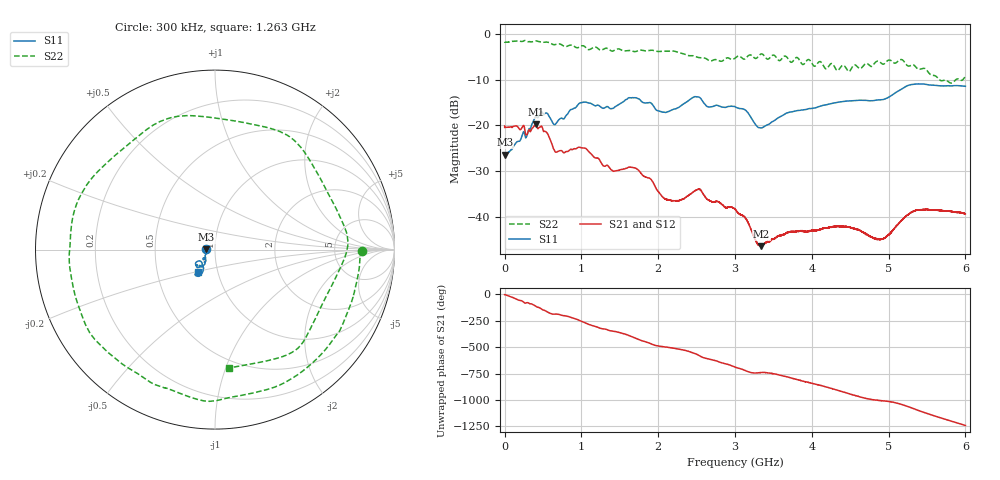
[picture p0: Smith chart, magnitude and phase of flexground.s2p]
!  8/12/2020  02:56:47
! Ref Plane: 0.000 mm
# MHZ S MA R  50
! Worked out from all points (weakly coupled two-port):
!   10001 points, 300 kHz to 6 GHz, reference 50 ohm
!   highest |S21| = -19.78 dB at 405.3 MHz (marker M1); lowest = -46.4 dB at 3.344 GHz (marker M2)
!   lowest |S11| = -26.4 dB at 2.1 MHz (marker M3), VSWR 1.10, Z = 45.4 + j0.0592 ohm
!   |S11| at or under -10 dB: start of sweep to end of sweep
!   |S22| runs from -10.8 to -1.5 dB; largest |S21 - S12| = 0.0018
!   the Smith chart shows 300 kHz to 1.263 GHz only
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0.3  0.04814 177.6  0.09862 -1.1  0.09691 -1.1  0.8177 -0.5
2.0999  0.04778 179.2  0.09495 -0.8  0.0953 -0.7  0.8083 -1.1
227.0887  0.077 -136.3  0.09468 -61.4  0.09466 -61.3  0.8256 -80.3
405.2798  0.1261 -131.3  0.1026 -110.6  0.1025 -110.5  0.8359 -143.2
714.8643  0.1171 -127.7  0.05284 169.8  0.05281 169.9  0.7756 109.7
1000.45  0.177 -123.0  0.05687 106.0  0.05687 106.2  0.7371 8.1
1292.035  0.1542 -123.7  0.036 33.5  0.0359 33.5  0.6831 -93.7
1521.824  0.1759 -113.1  0.03311 -6.5  0.03311 -6.3  0.6646 -170.1
1768.412  0.1884 -123.8  0.03064 -74.3  0.03059 -74.3  0.6625 101.9
2000.6  0.144 -119.5  0.01902 -128.3  0.01897 -128.2  0.641 25.6
2319.784  0.1692 -94.4  0.01566 -165.7  0.01562 -165.7  0.6084 -74.8
2599.37  0.1737 -108.1  0.01713 118.7  0.01712 118.7  0.5451 -173.5
3000.15  0.16 -95.6  0.01213 31.4  0.01213 31.9  0.5421 34.2
3343.933  0.09365 -76.6  0.004802 -20.1  0.004839 -19.9  0.603 -74.0
3654.717  0.1338 -48.0  0.006558 -56.4  0.00649 -55.9  0.5709 -171.9
4000.3  0.1531 -37.9  0.007123 -122.0  0.007064 -121.4  0.4799 77.7
4421.479  0.1829 -27.7  0.007821 153.2  0.007843 153.7  0.4487 -73.8
4707.665  0.1877 -21.7  0.006549 94.4  0.00646 94.8  0.4744 -179.2
5000.45  0.2031 -6.9  0.006423 65.3  0.00636 65.7  0.5161 88.9
5306.435  0.2795 -6.7  0.01137 2.5  0.01132 2.4  0.458 1.1
5544.023  0.2756 -11.0  0.01196 -59.1  0.01188 -59.2  0.3599 -75.0
6000  0.2673 -9.7  0.0108 -162.1  0.01082 -162.4  0.3423 98.6
